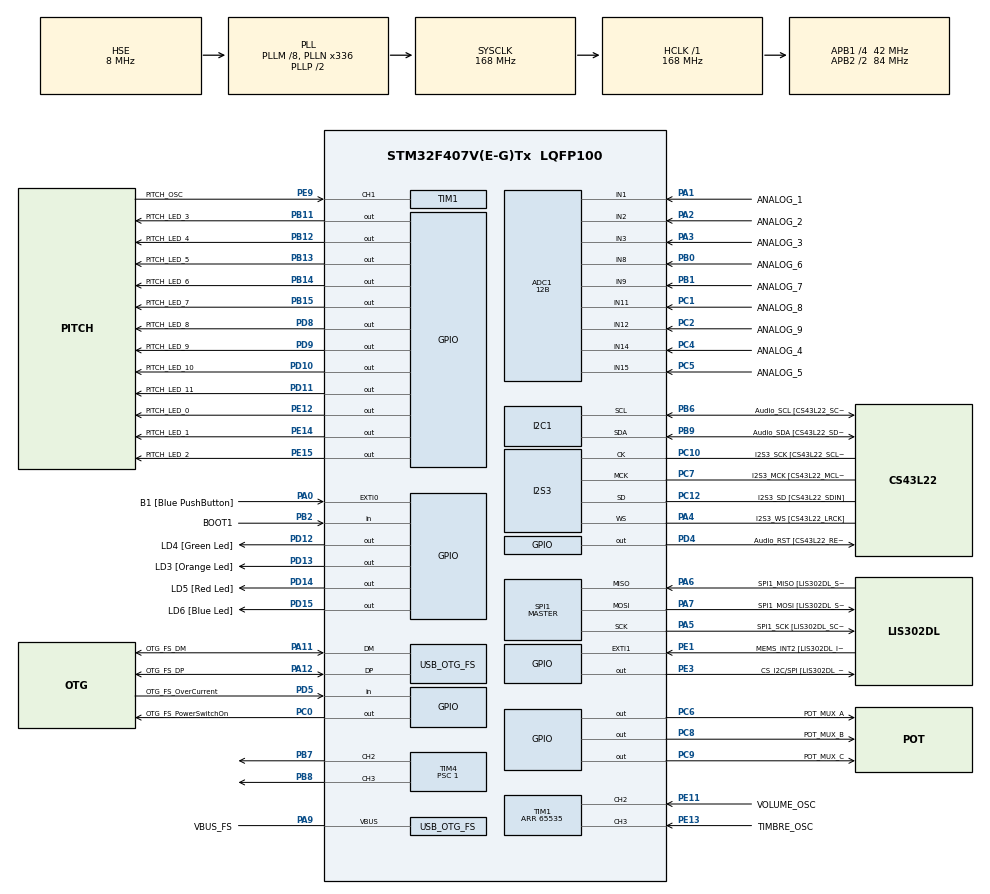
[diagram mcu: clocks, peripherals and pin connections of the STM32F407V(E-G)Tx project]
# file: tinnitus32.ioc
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ADC1.Channel-0\#ChannelRegularConversion=ADC_CHANNEL_1
ADC1.Channel-1\#ChannelRegularConversion=ADC_CHANNEL_2
ADC1.Channel-2\#ChannelRegularConversion=ADC_CHANNEL_3
ADC1.Channel-3\#ChannelRegularConversion=ADC_CHANNEL_14
ADC1.Channel-4\#ChannelRegularConversion=ADC_CHANNEL_15
ADC1.Channel-5\#ChannelRegularConversion=ADC_CHANNEL_8
ADC1.Channel-6\#ChannelRegularConversion=ADC_CHANNEL_9
ADC1.Channel-7\#ChannelRegularConversion=ADC_CHANNEL_11
ADC1.Channel-8\#ChannelRegularConversion=ADC_CHANNEL_12
ADC1.ClockPrescaler=ADC_CLOCK_SYNC_PCLK_DIV6
ADC1.ContinuousConvMode=DISABLE
ADC1.DMAContinuousRequests=ENABLE
ADC1.DataAlign=ADC_DATAALIGN_RIGHT
ADC1.DiscontinuousConvMode=DISABLE
ADC1.EOCSelection=ADC_EOC_SEQ_CONV
ADC1.EnableAnalogWatchDog=false
ADC1.ExternalTrigConv=ADC_SOFTWARE_START
ADC1.ExternalTrigConvEdge=ADC_EXTERNALTRIGCONVEDGE_NONE
ADC1.InjNumberOfConversion=0
ADC1.NbrOfConversion=9
ADC1.NbrOfConversionFlag=1
ADC1.Rank-0\#ChannelRegularConversion=1
ADC1.Rank-1\#ChannelRegularConversion=2
ADC1.Rank-2\#ChannelRegularConversion=3
ADC1.Rank-3\#ChannelRegularConversion=4
ADC1.Rank-4\#ChannelRegularConversion=5
ADC1.Rank-5\#ChannelRegularConversion=6
ADC1.Rank-6\#ChannelRegularConversion=7
ADC1.Rank-7\#ChannelRegularConversion=8
ADC1.Rank-8\#ChannelRegularConversion=9
ADC1.Resolution=ADC_RESOLUTION_12B
ADC1.SamplingTime-0\#ChannelRegularConversion=ADC_SAMPLETIME_112CYCLES
ADC1.SamplingTime-1\#ChannelRegularConversion=ADC_SAMPLETIME_112CYCLES
ADC1.SamplingTime-2\#ChannelRegularConversion=ADC_SAMPLETIME_112CYCLES
ADC1.SamplingTime-3\#ChannelRegularConversion=ADC_SAMPLETIME_112CYCLES
ADC1.SamplingTime-4\#ChannelRegularConversion=ADC_SAMPLETIME_112CYCLES
ADC1.SamplingTime-5\#ChannelRegularConversion=ADC_SAMPLETIME_112CYCLES
ADC1.SamplingTime-6\#ChannelRegularConversion=ADC_SAMPLETIME_112CYCLES
ADC1.SamplingTime-7\#ChannelRegularConversion=ADC_SAMPLETIME_112CYCLES
ADC1.SamplingTime-8\#ChannelRegularConversion=ADC_SAMPLETIME_112CYCLES
ADC1.ScanConvMode=ENABLE
ADC1.master=1
Dma.ADC1.0.Direction=DMA_PERIPH_TO_MEMORY
Dma.ADC1.0.FIFOMode=DMA_FIFOMODE_DISABLE
Dma.ADC1.0.Instance=DMA2_Stream0
Dma.ADC1.0.MemDataAlignment=DMA_MDATAALIGN_HALFWORD
Dma.ADC1.0.MemInc=DMA_MINC_ENABLE
Dma.ADC1.0.Mode=DMA_CIRCULAR
Dma.ADC1.0.PeriphDataAlignment=DMA_PDATAALIGN_HALFWORD
Dma.ADC1.0.PeriphInc=DMA_PINC_DISABLE
Dma.ADC1.0.Priority=DMA_PRIORITY_LOW
Dma.Request0=ADC1
I2S3.AudioFreq=I2S_AUDIOFREQ_48K
I2S3.AudioFreq-Half_Duplex_Master=I2S_AUDIOFREQ_96K
I2S3.DataFormat=I2S_DATAFORMAT_16B
I2S3.ErrorAudioFreq=-0.01 %
I2S3.ErrorAudioFreq-Half_Duplex_Master=0.8 %
I2S3.FullDuplexMode=I2S_FULLDUPLEXMODE_DISABLE
I2S3.Instance=SPI$Index
I2S3.RealAudioFreq=47.991 KHz
I2S3.RealAudioFreq-Half_Duplex_Master=96.774 KHz
I2S3.VirtualMode=I2S_MODE_MASTER
Mcu.Family=STM32F4
Mcu.Name=STM32F407V(E-G)Tx
Mcu.Package=LQFP100
NVIC.DMA2_Stream0_IRQn=true\:2\:0\:true\:false\:true\:false\:true
NVIC.OTG_FS_IRQn=true\:1\:0\:true\:false\:true\:true\:true
NVIC.PriorityGroup=NVIC_PRIORITYGROUP_3
NVIC.SPI3_IRQn=true\:0\:0\:false\:false\:true\:true\:true
PA0-WKUP.GPIO_Label=B1 [Blue PushButton]
PA0-WKUP.GPIO_ModeDefaultEXTI=GPIO_MODE_EVT_RISING
PA0-WKUP.GPIO_PuPd=GPIO_NOPULL
PA0-WKUP.Signal=GPXTI0
PA1.GPIO_Label=ANALOG_1
PA1.GPIO_PuPd=GPIO_NOPULL
PA1.Signal=ADCx_IN1
PA10.GPIO_Label=OTG_FS_ID
PA10.GPIO_Mode=GPIO_MODE_AF_PP
PA10.GPIO_PuPd=GPIO_NOPULL
PA10.GPIO_Speed=GPIO_SPEED_FREQ_LOW
PA10.Signal=USB_OTG_FS_ID
PA11.GPIO_Label=OTG_FS_DM
PA11.GPIO_Mode=GPIO_MODE_AF_PP
PA11.GPIO_PuPd=GPIO_NOPULL
PA11.GPIO_Speed=GPIO_SPEED_FREQ_LOW
PA11.Mode=Host_Only
PA11.Signal=USB_OTG_FS_DM
PA12.GPIO_Label=OTG_FS_DP
PA12.GPIO_Mode=GPIO_MODE_AF_PP
PA12.GPIO_PuPd=GPIO_NOPULL
PA12.GPIO_Speed=GPIO_SPEED_FREQ_LOW
PA12.Mode=Host_Only
PA12.Signal=USB_OTG_FS_DP
PA13.GPIO_Label=SWDIO
PA13.Mode=Serial_Wire
PA13.Signal=SYS_JTMS-SWDIO
PA14.GPIO_Label=SWCLK
PA14.Mode=Serial_Wire
PA14.Signal=SYS_JTCK-SWCLK
PA2.GPIO_Label=ANALOG_2
PA2.GPIO_PuPd=GPIO_NOPULL
PA2.Signal=ADCx_IN2
PA3.GPIO_Label=ANALOG_3
PA3.GPIO_PuPd=GPIO_NOPULL
PA3.Signal=ADCx_IN3
PA4.GPIO_Label=I2S3_WS [CS43L22_LRCK]
PA4.GPIO_Mode=GPIO_MODE_AF_PP
PA4.GPIO_PuPd=GPIO_NOPULL
PA4.GPIO_Speed=GPIO_SPEED_FREQ_LOW
PA4.Mode=Half_Duplex_Master
PA4.Signal=I2S3_WS
PA5.GPIO_Label=SPI1_SCK [LIS302DL_SCL/SPC]
PA5.GPIO_Mode=GPIO_MODE_AF_PP
PA5.GPIO_PuPd=GPIO_NOPULL
PA5.GPIO_Speed=GPIO_SPEED_FREQ_LOW
PA5.Mode=Full_Duplex_Master
PA5.Signal=SPI1_SCK
PA6.GPIO_Label=SPI1_MISO [LIS302DL_SDO]
PA6.GPIO_Mode=GPIO_MODE_AF_PP
PA6.GPIO_PuPd=GPIO_NOPULL
PA6.GPIO_Speed=GPIO_SPEED_FREQ_LOW
PA6.Mode=Full_Duplex_Master
PA6.Signal=SPI1_MISO
PA7.GPIO_Label=SPI1_MOSI [LIS302DL_SDA/SDI/SDO]
PA7.GPIO_Mode=GPIO_MODE_AF_PP
PA7.GPIO_PuPd=GPIO_NOPULL
PA7.GPIO_Speed=GPIO_SPEED_FREQ_LOW
PA7.Mode=Full_Duplex_Master
PA7.Signal=SPI1_MOSI
PA9.GPIO_Label=VBUS_FS
PA9.GPIO_Mode=GPIO_MODE_INPUT
PA9.GPIO_PuPd=GPIO_NOPULL
PA9.Mode=Activate_VBUS
PA9.Signal=USB_OTG_FS_VBUS
PB0.GPIO_Label=ANALOG_6
PB0.GPIO_PuPd=GPIO_NOPULL
PB0.Signal=ADCx_IN8
PB1.GPIO_Label=ANALOG_7
PB1.GPIO_PuPd=GPIO_NOPULL
PB1.Signal=ADCx_IN9
PB10.GPIO_Label=CLK_IN [MP45DT02_CLK]
PB10.GPIO_Mode=GPIO_MODE_AF_PP
PB10.GPIO_PuPd=GPIO_NOPULL
PB10.GPIO_Speed=GPIO_SPEED_FREQ_LOW
PB10.Signal=I2S2_CK
PB11.GPIO_Label=PITCH_LED_3
PB11.Signal=GPIO_Output
PB12.GPIO_Label=PITCH_LED_4
PB12.Signal=GPIO_Output
PB13.GPIO_Label=PITCH_LED_5
PB13.Signal=GPIO_Output
PB14.GPIO_Label=PITCH_LED_6
PB14.Signal=GPIO_Output
PB15.GPIO_Label=PITCH_LED_7
PB15.Signal=GPIO_Output
PB2.GPIO_Label=BOOT1
PB2.GPIO_Mode=GPIO_MODE_INPUT
PB2.GPIO_PuPd=GPIO_NOPULL
PB2.Signal=GPIO_Input
PB3.GPIO_Label=SWO
PB3.Signal=SYS_JTDO-SWO
PB6.GPIO_Label=Audio_SCL [CS43L22_SCL]
PB6.GPIO_Mode=GPIO_MODE_AF_OD
PB6.GPIO_PuPd=GPIO_NOPULL
PB6.GPIO_Speed=GPIO_SPEED_FREQ_LOW
PB6.Mode=I2C
PB6.Signal=I2C1_SCL
PB7.Signal=S_TIM4_CH2
PB8.Signal=S_TIM4_CH3
PB9.GPIO_Label=Audio_SDA [CS43L22_SDA]
PB9.GPIO_Mode=GPIO_MODE_AF_OD
PB9.GPIO_PuPd=GPIO_NOPULL
PB9.GPIO_Speed=GPIO_SPEED_FREQ_LOW
PB9.Mode=I2C
PB9.Signal=I2C1_SDA
PC0.GPIO_Label=OTG_FS_PowerSwitchOn
PC0.GPIO_PuPd=GPIO_NOPULL
PC0.GPIO_Speed=GPIO_SPEED_FREQ_LOW
PC0.PinState=GPIO_PIN_SET
PC0.Signal=GPIO_Output
PC1.GPIO_Label=ANALOG_8
PC1.GPIO_PuPd=GPIO_NOPULL
PC1.Signal=ADCx_IN11
PC10.GPIO_Label=I2S3_SCK [CS43L22_SCLK]
PC10.GPIO_Mode=GPIO_MODE_AF_PP
PC10.GPIO_PuPd=GPIO_NOPULL
PC10.GPIO_Speed=GPIO_SPEED_FREQ_LOW
PC10.Mode=Half_Duplex_Master
PC10.Signal=I2S3_CK
PC12.GPIO_Label=I2S3_SD [CS43L22_SDIN]
PC12.GPIO_Mode=GPIO_MODE_AF_PP
PC12.GPIO_PuPd=GPIO_NOPULL
PC12.GPIO_Speed=GPIO_SPEED_FREQ_LOW
PC12.Mode=Half_Duplex_Master
PC12.Signal=I2S3_SD
PC14-OSC32_IN.GPIO_Label=PC14-OSC32_IN
PC14-OSC32_IN.Mode=LSE-External-Oscillator
PC14-OSC32_IN.Signal=RCC_OSC32_IN
PC15-OSC32_OUT.GPIO_Label=PC15-OSC32_OUT
PC15-OSC32_OUT.Mode=LSE-External-Oscillator
PC15-OSC32_OUT.Signal=RCC_OSC32_OUT
PC2.GPIO_Label=ANALOG_9
PC2.GPIO_PuPd=GPIO_NOPULL
PC2.Signal=ADCx_IN12
PC3.GPIO_Label=PDM_OUT [MP45DT02_DOUT]
PC3.GPIO_Mode=GPIO_MODE_AF_PP
PC3.GPIO_PuPd=GPIO_NOPULL
PC3.GPIO_Speed=GPIO_SPEED_FREQ_LOW
PC3.Signal=I2S2_SD
PC4.GPIO_Label=ANALOG_4
PC4.GPIO_PuPd=GPIO_NOPULL
PC4.Signal=ADCx_IN14
PC5.GPIO_Label=ANALOG_5
PC5.GPIO_PuPd=GPIO_NOPULL
PC5.Signal=ADCx_IN15
PC6.GPIO_Label=POT_MUX_A
PC6.Signal=GPIO_Output
PC7.GPIO_Label=I2S3_MCK [CS43L22_MCLK]
PC7.GPIO_Mode=GPIO_MODE_AF_PP
PC7.GPIO_PuPd=GPIO_NOPULL
PC7.GPIO_Speed=GPIO_SPEED_FREQ_LOW
PC7.Mode=Master_Clock_Activated
PC7.Signal=I2S3_MCK
PC8.GPIO_Label=POT_MUX_B
PC8.Signal=GPIO_Output
PC9.GPIO_Label=POT_MUX_C
PC9.Signal=GPIO_Output
PD10.GPIO_Label=PITCH_LED_10
PD10.Signal=GPIO_Output
PD11.GPIO_Label=PITCH_LED_11
PD11.Signal=GPIO_Output
PD12.GPIO_Label=LD4 [Green Led]
PD12.GPIO_PuPd=GPIO_NOPULL
PD12.GPIO_Speed=GPIO_SPEED_FREQ_LOW
PD12.Signal=GPIO_Output
PD13.GPIO_Label=LD3 [Orange Led]
PD13.GPIO_PuPd=GPIO_NOPULL
PD13.GPIO_Speed=GPIO_SPEED_FREQ_LOW
PD13.Signal=GPIO_Output
PD14.GPIO_Label=LD5 [Red Led]
PD14.GPIO_PuPd=GPIO_NOPULL
PD14.GPIO_Speed=GPIO_SPEED_FREQ_LOW
PD14.Signal=GPIO_Output
PD15.GPIO_Label=LD6 [Blue Led]
PD15.GPIO_PuPd=GPIO_NOPULL
PD15.GPIO_Speed=GPIO_SPEED_FREQ_LOW
PD15.Signal=GPIO_Output
PD4.GPIO_Label=Audio_RST [CS43L22_RESET]
PD4.GPIO_PuPd=GPIO_NOPULL
PD4.GPIO_Speed=GPIO_SPEED_FREQ_LOW
PD4.Signal=GPIO_Output
PD5.GPIO_Label=OTG_FS_OverCurrent
PD5.GPIO_Mode=GPIO_MODE_INPUT
PD5.GPIO_PuPd=GPIO_NOPULL
PD5.Signal=GPIO_Input
PD8.GPIO_Label=PITCH_LED_8
PD8.Signal=GPIO_Output
PD9.GPIO_Label=PITCH_LED_9
PD9.Signal=GPIO_Output
PE1.GPIO_Label=MEMS_INT2 [LIS302DL_INT2]
PE1.GPIO_ModeDefaultEXTI=GPIO_MODE_EVT_RISING
PE1.GPIO_PuPd=GPIO_NOPULL
PE1.Signal=GPXTI1
PE11.GPIO_Label=VOLUME_OSC
PE11.Signal=S_TIM1_CH2
PE12.GPIO_Label=PITCH_LED_0
PE12.Signal=GPIO_Output
PE13.GPIO_Label=TIMBRE_OSC
PE13.Signal=S_TIM1_CH3
PE14.GPIO_Label=PITCH_LED_1
PE14.Signal=GPIO_Output
PE15.GPIO_Label=PITCH_LED_2
PE15.Signal=GPIO_Output
PE3.GPIO_Label=CS_I2C/SPI [LIS302DL_CS_I2C/SPI]
PE3.GPIO_PuPd=GPIO_NOPULL
PE3.GPIO_Speed=GPIO_SPEED_FREQ_LOW
PE3.Signal=GPIO_Output
PE9.GPIO_Label=PITCH_OSC
PE9.Signal=S_TIM1_CH1
PH0-OSC_IN.GPIO_Label=PH0-OSC_IN
PH0-OSC_IN.Mode=HSE-External-Oscillator
PH0-OSC_IN.Signal=RCC_OSC_IN
PH1-OSC_OUT.GPIO_Label=PH1-OSC_OUT
PH1-OSC_OUT.Mode=HSE-External-Oscillator
PH1-OSC_OUT.Signal=RCC_OSC_OUT
ProjectManager.HeapSize=0x200
ProjectManager.StackSize=0x400
ProjectManager.TargetToolchain=STM32CubeIDE
RCC.48MHZClocksFreq_Value=48000000
RCC.AHBFreq_Value=168000000
RCC.APB1CLKDivider=RCC_HCLK_DIV4
RCC.APB1Freq_Value=42000000
RCC.APB1TimFreq_Value=84000000
RCC.APB2CLKDivider=RCC_HCLK_DIV2
RCC.APB2Freq_Value=84000000
RCC.APB2TimFreq_Value=168000000
RCC.CortexFreq_Value=168000000
RCC.HCLKFreq_Value=168000000
RCC.HSE_VALUE=8000000
RCC.HSI_VALUE=16000000
RCC.PLLI2SN=258
RCC.PLLI2SR=3
RCC.PLLM=8
RCC.PLLN=336
RCC.PLLQ=7
RCC.SYSCLKFreq_VALUE=168000000
RCC.SYSCLKSource=RCC_SYSCLKSOURCE_PLLCLK
RCC.VCOOutputFreq_Value=336000000
SH.ADCx_IN1.0=ADC1_IN1,IN1
SH.ADCx_IN11.0=ADC1_IN11,IN11
SH.ADCx_IN12.0=ADC1_IN12,IN12
SH.ADCx_IN14.0=ADC1_IN14,IN14
SH.ADCx_IN15.0=ADC1_IN15,IN15
SH.ADCx_IN2.0=ADC1_IN2,IN2
SH.ADCx_IN3.0=ADC1_IN3,IN3
SH.ADCx_IN8.0=ADC1_IN8,IN8
SH.ADCx_IN9.0=ADC1_IN9,IN9
SH.S_TIM1_CH1.0=TIM1_CH1,Input_Capture1_from_TI1
SH.S_TIM1_CH2.0=TIM1_CH2,Input_Capture2_from_TI2
SH.S_TIM1_CH3.0=TIM1_CH3,Input_Capture3_from_TI3
SH.S_TIM4_CH2.0=TIM4_CH2,PWM Generation2 CH2
SH.S_TIM4_CH3.0=TIM4_CH3,PWM Generation3 CH3
SPI1.BaudRatePrescaler-Full_Duplex_Master=SPI_BAUDRATEPRESCALER_2
SPI1.CalculateBaudRate-Full_Duplex_Master=42.0 MBits/s
SPI1.Direction=SPI_DIRECTION_2LINES
SPI1.Mode=SPI_MODE_MASTER
SPI1.Mode-Full_Duplex_Master=SPI_MODE_MASTER
SPI1.VirtualType=VM_MASTER
TIM1.Channel-Input_Capture1_from_TI1=TIM_CHANNEL_1
TIM1.Channel-Input_Capture2_from_TI2=TIM_CHANNEL_2
TIM1.Channel-Input_Capture3_from_TI3=TIM_CHANNEL_3
TIM1.ICPrescaler-Input_Capture1_from_TI1=TIM_ICPSC_DIV8
TIM1.ICPrescaler-Input_Capture2_from_TI2=TIM_ICPSC_DIV8
TIM1.ICPrescaler-Input_Capture3_from_TI3=TIM_ICPSC_DIV8
TIM1.Period=65535
TIM4.Channel-PWM\ Generation2\ CH2=TIM_CHANNEL_2
TIM4.Channel-PWM\ Generation3\ CH3=TIM_CHANNEL_3
TIM4.Period=65535
TIM4.Prescaler=1
USB_HOST.BSP.number=1
USB_HOST.USBH_HandleTypeDef-MSC_FS=hUsbHostFS
USB_HOST.VirtualModeFS=Msc
USB_HOST0.BSP.STBoard=false
USB_HOST0.BSP.api=UnknownBspDriver
USB_HOST0.BSP.i2caddr=0
USB_HOST0.BSP.i2creg=0
USB_HOST0.BSP.instance=PC0
USB_HOST0.BSP.ip=GPIO
USB_HOST0.BSP.mode=Output
USB_HOST0.BSP.name=Drive_VBUS_FS
USB_HOST0.BSP.solution=PC0
USB_OTG_FS.VirtualMode=Host_Only
USB_OTG_FS.phy_itface=HCD_PHY_EMBEDDED
VP_FATFS_VS_USB.Mode=USB
VP_RNG_VS_RNG.Mode=RNG_Activate
VP_TIM1_VS_ClockSourceINT.Mode=Internal
VP_TIM4_VS_ClockSourceINT.Mode=Internal
VP_USB_HOST_VS_USB_HOST_MSC_FS.Mode=MSC_FS
board=STM32F4DISCOVERY

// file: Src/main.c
/**
  ******************************************************************************
  * File Name          : main.c
  * Description        : Main program body
  ******************************************************************************
  * This notice applies to any and all portions of this file
  * that are not between comment pairs USER CODE BEGIN and
  * USER CODE END. Other portions of this file, whether
  * inserted by the user or by software development tools
  * are owned by their respective copyright owners.
  *
  * Copyright (c) 2021 STMicroelectronics International N.V.
  * All rights reserved.
  *
  * Redistribution and use in source and binary forms, with or without
  * modification, are permitted, provided that the following conditions are met:
  *
  * 1. Redistribution of source code must retain the above copyright notice,
  *    this list of conditions and the following disclaimer.
  * 2. Redistributions in binary form must reproduce the above copyright notice,
  *    this list of conditions and the following disclaimer in the documentation
  *    and/or other materials provided with the distribution.
  * 3. Neither the name of STMicroelectronics nor the names of other
  *    contributors to this software may be used to endorse or promote products
  *    derived from this software without specific written permission.
  * 4. This software, including modifications and/or derivative works of this
  *    software, must execute solely and exclusively on microcontroller or
  *    microprocessor devices manufactured by or for STMicroelectronics.
  * 5. Redistribution and use of this software other than as permitted under
  *    this license is void and will automatically terminate your rights under
  *    this license.
  *
  * THIS SOFTWARE IS PROVIDED BY STMICROELECTRONICS AND CONTRIBUTORS "AS IS"
  * AND ANY EXPRESS, IMPLIED OR STATUTORY WARRANTIES, INCLUDING, BUT NOT
  * LIMITED TO, THE IMPLIED WARRANTIES OF MERCHANTABILITY, FITNESS FOR A
  * PARTICULAR PURPOSE AND NON-INFRINGEMENT OF THIRD PARTY INTELLECTUAL PROPERTY
  * RIGHTS ARE DISCLAIMED TO THE FULLEST EXTENT PERMITTED BY LAW. IN NO EVENT
  * SHALL STMICROELECTRONICS OR CONTRIBUTORS BE LIABLE FOR ANY DIRECT, INDIRECT,
  * INCIDENTAL, SPECIAL, EXEMPLARY, OR CONSEQUENTIAL DAMAGES (INCLUDING, BUT NOT
  * LIMITED TO, PROCUREMENT OF SUBSTITUTE GOODS OR SERVICES; LOSS OF USE, DATA,
  * OR PROFITS; OR BUSINESS INTERRUPTION) HOWEVER CAUSED AND ON ANY THEORY OF
  * LIABILITY, WHETHER IN CONTRACT, STRICT LIABILITY, OR TORT (INCLUDING
  * NEGLIGENCE OR OTHERWISE) ARISING IN ANY WAY OUT OF THE USE OF THIS SOFTWARE,
  * EVEN IF ADVISED OF THE POSSIBILITY OF SUCH DAMAGE.
  *
  ******************************************************************************
  */

#include "main.h"
#include "stm32f4xx_hal.h"
#include "fatfs.h"
#include "usb_host.h"

/* USER CODE BEGIN Includes */
#include "../Drivers/BSP/STM32F4-Discovery/stm32f4_discovery.h"
#include "audio_out.h"
#include "theremin.h"
#include "pots.h"
#include "config.h"
/* USER CODE END Includes */

ADC_HandleTypeDef hadc1;
DMA_HandleTypeDef hdma_adc1;

I2C_HandleTypeDef hi2c1;

I2S_HandleTypeDef hi2s3;

RNG_HandleTypeDef hrng;

SPI_HandleTypeDef hspi1;

TIM_HandleTypeDef htim1;
TIM_HandleTypeDef htim4;

/* USER CODE BEGIN PV */
/* Private variables ---------------------------------------------------------*/

/* USER CODE END PV */

void SystemClock_Config(void);
static void MX_GPIO_Init(void);
static void MX_DMA_Init(void);
static void MX_ADC1_Init(void);
static void MX_I2C1_Init(void);
static void MX_I2S3_Init(void);
static void MX_RNG_Init(void);
static void MX_SPI1_Init(void);
static void MX_TIM1_Init(void);
static void MX_TIM4_Init(void);
void MX_USB_HOST_Process(void);

void HAL_TIM_MspPostInit(TIM_HandleTypeDef *htim);

/* USER CODE BEGIN PFP */
/* Private function prototypes -----------------------------------------------*/

/* USER CODE END PFP */

/* USER CODE BEGIN 0 */
extern void initialise_monitor_handles(void);
int siFlag1ms = 0;
int siTaskCnt = 0;

/* USER CODE END 0 */

int main(void)
{

  /* MCU Configuration----------------------------------------------------------*/

  /* Reset of all peripherals, Initializes the Flash interface and the Systick. */
  HAL_Init();

  /* Configure the system clock */
  SystemClock_Config();

  /* Initialize all configured peripherals */
  MX_GPIO_Init();
  MX_DMA_Init();
  MX_ADC1_Init();
  MX_I2C1_Init();
  MX_I2S3_Init();
  MX_RNG_Init();
  MX_SPI1_Init();
  MX_TIM1_Init();
  MX_FATFS_Init();
  MX_USB_HOST_Init();
  MX_TIM4_Init();

  /* USER CODE BEGIN 2 */
#ifdef DEBUG
  initialise_monitor_handles();
#endif
  CONFIG_Init();
  POTS_Init();
  THEREMIN_Init();
  AUDIO_OUT_Init();

  HAL_TIM_Base_Start(&htim1);
  HAL_TIM_IC_Start(&htim1,TIM_CHANNEL_1);
  HAL_TIM_IC_Start(&htim1,TIM_CHANNEL_2);
  HAL_TIM_IC_Start(&htim1,TIM_CHANNEL_3);

  BSP_PB_Init(BUTTON_KEY, BUTTON_MODE_GPIO);

  // init PWM output for servo motor
  HAL_TIM_PWM_Start(&htim4,TIM_CHANNEL_2);
  __HAL_TIM_SET_COMPARE(&htim4,TIM_CHANNEL_2,0);

  // init PWM output for external LED
  HAL_TIM_PWM_Start(&htim4,TIM_CHANNEL_3);
  __HAL_TIM_SET_COMPARE(&htim4,TIM_CHANNEL_3,65535);
  /* USER CODE END 2 */

  /* Infinite loop */
  while (1)
  {
    MX_USB_HOST_Process();

  /* USER CODE BEGIN 3 */
	if (siFlag1ms)
	{
		siFlag1ms = 0;
	    THEREMIN_1msTask();
	    POTS_1msTask();
	    AUDIO_OUT_1msTask();

		siTaskCnt++;
		if (siTaskCnt >= 1000)
		{
			siTaskCnt = 0;
		    THEREMIN_1sTask();
		}
	}
  }
  /* USER CODE END 3 */

}

/** System Clock Configuration
*/
void SystemClock_Config(void)
{

  RCC_OscInitTypeDef RCC_OscInitStruct;
  RCC_ClkInitTypeDef RCC_ClkInitStruct;
  RCC_PeriphCLKInitTypeDef PeriphClkInitStruct;

    /**Configure the main internal regulator output voltage
    */
  __HAL_RCC_PWR_CLK_ENABLE();

  __HAL_PWR_VOLTAGESCALING_CONFIG(PWR_REGULATOR_VOLTAGE_SCALE1);

    /**Initializes the CPU, AHB and APB busses clocks
    */
  RCC_OscInitStruct.OscillatorType = RCC_OSCILLATORTYPE_HSE;
  RCC_OscInitStruct.HSEState = RCC_HSE_ON;
  RCC_OscInitStruct.PLL.PLLState = RCC_PLL_ON;
  RCC_OscInitStruct.PLL.PLLSource = RCC_PLLSOURCE_HSE;
  RCC_OscInitStruct.PLL.PLLM = 8;
  RCC_OscInitStruct.PLL.PLLN = 336;
  RCC_OscInitStruct.PLL.PLLP = RCC_PLLP_DIV2;
  RCC_OscInitStruct.PLL.PLLQ = 7;
  if (HAL_RCC_OscConfig(&RCC_OscInitStruct) != HAL_OK)
  {
    _Error_Handler(__FILE__, __LINE__);
  }

    /**Initializes the CPU, AHB and APB busses clocks
    */
  RCC_ClkInitStruct.ClockType = RCC_CLOCKTYPE_HCLK|RCC_CLOCKTYPE_SYSCLK
                              |RCC_CLOCKTYPE_PCLK1|RCC_CLOCKTYPE_PCLK2;
  RCC_ClkInitStruct.SYSCLKSource = RCC_SYSCLKSOURCE_PLLCLK;
  RCC_ClkInitStruct.AHBCLKDivider = RCC_SYSCLK_DIV1;
  RCC_ClkInitStruct.APB1CLKDivider = RCC_HCLK_DIV4;
  RCC_ClkInitStruct.APB2CLKDivider = RCC_HCLK_DIV2;

  if (HAL_RCC_ClockConfig(&RCC_ClkInitStruct, FLASH_LATENCY_5) != HAL_OK)
  {
    _Error_Handler(__FILE__, __LINE__);
  }

  PeriphClkInitStruct.PeriphClockSelection = RCC_PERIPHCLK_I2S;
  PeriphClkInitStruct.PLLI2S.PLLI2SN = 258;
  PeriphClkInitStruct.PLLI2S.PLLI2SR = 3;
  if (HAL_RCCEx_PeriphCLKConfig(&PeriphClkInitStruct) != HAL_OK)
  {
    _Error_Handler(__FILE__, __LINE__);
  }

    /**Configure the Systick interrupt time
    */
  HAL_SYSTICK_Config(HAL_RCC_GetHCLKFreq()/1000);

    /**Configure the Systick
    */
  HAL_SYSTICK_CLKSourceConfig(SYSTICK_CLKSOURCE_HCLK);

  /* SysTick_IRQn interrupt configuration */
  HAL_NVIC_SetPriority(SysTick_IRQn, 2, 0);
}

/* ADC1 init function */
static void MX_ADC1_Init(void)
{

  ADC_ChannelConfTypeDef sConfig;

    /**Configure the global features of the ADC (Clock, Resolution, Data Alignment and number of conversion)
    */
  hadc1.Instance = ADC1;
  hadc1.Init.ClockPrescaler = ADC_CLOCK_SYNC_PCLK_DIV6;
  hadc1.Init.Resolution = ADC_RESOLUTION_12B;
  hadc1.Init.ScanConvMode = ENABLE;
  hadc1.Init.ContinuousConvMode = DISABLE;
  hadc1.Init.DiscontinuousConvMode = DISABLE;
  hadc1.Init.ExternalTrigConvEdge = ADC_EXTERNALTRIGCONVEDGE_NONE;
  hadc1.Init.ExternalTrigConv = ADC_SOFTWARE_START;
  hadc1.Init.DataAlign = ADC_DATAALIGN_RIGHT;
  hadc1.Init.NbrOfConversion = 9;
  hadc1.Init.DMAContinuousRequests = ENABLE;
  hadc1.Init.EOCSelection = ADC_EOC_SEQ_CONV;
  if (HAL_ADC_Init(&hadc1) != HAL_OK)
  {
    _Error_Handler(__FILE__, __LINE__);
  }

    /**Configure for the selected ADC regular channel its corresponding rank in the sequencer and its sample time.
    */
  sConfig.Channel = ADC_CHANNEL_1;
  sConfig.Rank = 1;
  sConfig.SamplingTime = ADC_SAMPLETIME_112CYCLES;
  if (HAL_ADC_ConfigChannel(&hadc1, &sConfig) != HAL_OK)
  {
    _Error_Handler(__FILE__, __LINE__);
  }

    /**Configure for the selected ADC regular channel its corresponding rank in the sequencer and its sample time.
    */
  sConfig.Channel = ADC_CHANNEL_2;
  sConfig.Rank = 2;
  if (HAL_ADC_ConfigChannel(&hadc1, &sConfig) != HAL_OK)
  {
    _Error_Handler(__FILE__, __LINE__);
  }

    /**Configure for the selected ADC regular channel its corresponding rank in the sequencer and its sample time.
    */
  sConfig.Channel = ADC_CHANNEL_3;
  sConfig.Rank = 3;
  if (HAL_ADC_ConfigChannel(&hadc1, &sConfig) != HAL_OK)
  {
    _Error_Handler(__FILE__, __LINE__);
  }

    /**Configure for the selected ADC regular channel its corresponding rank in the sequencer and its sample time.
    */
  sConfig.Channel = ADC_CHANNEL_14;
  sConfig.Rank = 4;
  if (HAL_ADC_ConfigChannel(&hadc1, &sConfig) != HAL_OK)
  {
    _Error_Handler(__FILE__, __LINE__);
  }

    /**Configure for the selected ADC regular channel its corresponding rank in the sequencer and its sample time.
    */
  sConfig.Channel = ADC_CHANNEL_15;
  sConfig.Rank = 5;
  if (HAL_ADC_ConfigChannel(&hadc1, &sConfig) != HAL_OK)
  {
    _Error_Handler(__FILE__, __LINE__);
  }

    /**Configure for the selected ADC regular channel its corresponding rank in the sequencer and its sample time.
    */
  sConfig.Channel = ADC_CHANNEL_8;
  sConfig.Rank = 6;
  if (HAL_ADC_ConfigChannel(&hadc1, &sConfig) != HAL_OK)
  {
    _Error_Handler(__FILE__, __LINE__);
  }

    /**Configure for the selected ADC regular channel its corresponding rank in the sequencer and its sample time.
    */
  sConfig.Channel = ADC_CHANNEL_9;
  sConfig.Rank = 7;
  if (HAL_ADC_ConfigChannel(&hadc1, &sConfig) != HAL_OK)
  {
    _Error_Handler(__FILE__, __LINE__);
  }

    /**Configure for the selected ADC regular channel its corresponding rank in the sequencer and its sample time.
    */
  sConfig.Channel = ADC_CHANNEL_11;
  sConfig.Rank = 8;
  if (HAL_ADC_ConfigChannel(&hadc1, &sConfig) != HAL_OK)
  {
    _Error_Handler(__FILE__, __LINE__);
  }

    /**Configure for the selected ADC regular channel its corresponding rank in the sequencer and its sample time.
    */
  sConfig.Channel = ADC_CHANNEL_12;
  sConfig.Rank = 9;
  if (HAL_ADC_ConfigChannel(&hadc1, &sConfig) != HAL_OK)
  {
    _Error_Handler(__FILE__, __LINE__);
  }

}

/* I2C1 init function */
static void MX_I2C1_Init(void)
{

  hi2c1.Instance = I2C1;
  hi2c1.Init.ClockSpeed = 100000;
  hi2c1.Init.DutyCycle = I2C_DUTYCYCLE_2;
  hi2c1.Init.OwnAddress1 = 0;
  hi2c1.Init.AddressingMode = I2C_ADDRESSINGMODE_7BIT;
  hi2c1.Init.DualAddressMode = I2C_DUALADDRESS_DISABLE;
  hi2c1.Init.OwnAddress2 = 0;
  hi2c1.Init.GeneralCallMode = I2C_GENERALCALL_DISABLE;
  hi2c1.Init.NoStretchMode = I2C_NOSTRETCH_DISABLE;
  if (HAL_I2C_Init(&hi2c1) != HAL_OK)
  {
    _Error_Handler(__FILE__, __LINE__);
  }

}

/* I2S3 init function */
static void MX_I2S3_Init(void)
{

  hi2s3.Instance = SPI3;
  hi2s3.Init.Mode = I2S_MODE_MASTER_TX;
  hi2s3.Init.Standard = I2S_STANDARD_PHILIPS;
  hi2s3.Init.DataFormat = I2S_DATAFORMAT_16B;
  hi2s3.Init.MCLKOutput = I2S_MCLKOUTPUT_ENABLE;
  hi2s3.Init.AudioFreq = I2S_AUDIOFREQ_48K;
  hi2s3.Init.CPOL = I2S_CPOL_LOW;
  hi2s3.Init.ClockSource = I2S_CLOCK_PLL;
  hi2s3.Init.FullDuplexMode = I2S_FULLDUPLEXMODE_DISABLE;
  if (HAL_I2S_Init(&hi2s3) != HAL_OK)
  {
    _Error_Handler(__FILE__, __LINE__);
  }

}

/* RNG init function */
static void MX_RNG_Init(void)
{

  hrng.Instance = RNG;
  if (HAL_RNG_Init(&hrng) != HAL_OK)
  {
    _Error_Handler(__FILE__, __LINE__);
  }

}

/* SPI1 init function */
static void MX_SPI1_Init(void)
{

  /* SPI1 parameter configuration*/
  hspi1.Instance = SPI1;
  hspi1.Init.Mode = SPI_MODE_MASTER;
  hspi1.Init.Direction = SPI_DIRECTION_2LINES;
  hspi1.Init.DataSize = SPI_DATASIZE_8BIT;
  hspi1.Init.CLKPolarity = SPI_POLARITY_LOW;
  hspi1.Init.CLKPhase = SPI_PHASE_1EDGE;
  hspi1.Init.NSS = SPI_NSS_SOFT;
  hspi1.Init.BaudRatePrescaler = SPI_BAUDRATEPRESCALER_2;
  hspi1.Init.FirstBit = SPI_FIRSTBIT_MSB;
  hspi1.Init.TIMode = SPI_TIMODE_DISABLE;
  hspi1.Init.CRCCalculation = SPI_CRCCALCULATION_DISABLE;
  hspi1.Init.CRCPolynomial = 10;
  if (HAL_SPI_Init(&hspi1) != HAL_OK)
  {
    _Error_Handler(__FILE__, __LINE__);
  }

}

/* TIM1 init function */
static void MX_TIM1_Init(void)
{

  TIM_ClockConfigTypeDef sClockSourceConfig;
  TIM_MasterConfigTypeDef sMasterConfig;
  TIM_IC_InitTypeDef sConfigIC;

  htim1.Instance = TIM1;
  htim1.Init.Prescaler = 0;
  htim1.Init.CounterMode = TIM_COUNTERMODE_UP;
  htim1.Init.Period = 65535;
  htim1.Init.ClockDivision = TIM_CLOCKDIVISION_DIV1;
  htim1.Init.RepetitionCounter = 0;
  if (HAL_TIM_Base_Init(&htim1) != HAL_OK)
  {
    _Error_Handler(__FILE__, __LINE__);
  }

  sClockSourceConfig.ClockSource = TIM_CLOCKSOURCE_INTERNAL;
  if (HAL_TIM_ConfigClockSource(&htim1, &sClockSourceConfig) != HAL_OK)
  {
    _Error_Handler(__FILE__, __LINE__);
  }

  if (HAL_TIM_IC_Init(&htim1) != HAL_OK)
  {
    _Error_Handler(__FILE__, __LINE__);
  }

  sMasterConfig.MasterOutputTrigger = TIM_TRGO_RESET;
  sMasterConfig.MasterSlaveMode = TIM_MASTERSLAVEMODE_DISABLE;
  if (HAL_TIMEx_MasterConfigSynchronization(&htim1, &sMasterConfig) != HAL_OK)
  {
    _Error_Handler(__FILE__, __LINE__);
  }

  sConfigIC.ICPolarity = TIM_INPUTCHANNELPOLARITY_RISING;
  sConfigIC.ICSelection = TIM_ICSELECTION_DIRECTTI;
  sConfigIC.ICPrescaler = TIM_ICPSC_DIV8;
  sConfigIC.ICFilter = 0;
  if (HAL_TIM_IC_ConfigChannel(&htim1, &sConfigIC, TIM_CHANNEL_1) != HAL_OK)
  {
    _Error_Handler(__FILE__, __LINE__);
  }

  if (HAL_TIM_IC_ConfigChannel(&htim1, &sConfigIC, TIM_CHANNEL_2) != HAL_OK)
  {
    _Error_Handler(__FILE__, __LINE__);
  }

  if (HAL_TIM_IC_ConfigChannel(&htim1, &sConfigIC, TIM_CHANNEL_3) != HAL_OK)
  {
    _Error_Handler(__FILE__, __LINE__);
  }

}

/* TIM4 init function */
static void MX_TIM4_Init(void)
{

  TIM_ClockConfigTypeDef sClockSourceConfig;
  TIM_MasterConfigTypeDef sMasterConfig;
  TIM_OC_InitTypeDef sConfigOC;

  htim4.Instance = TIM4;
  htim4.Init.Prescaler = 1;
  htim4.Init.CounterMode = TIM_COUNTERMODE_UP;
  htim4.Init.Period = 65535;
  htim4.Init.ClockDivision = TIM_CLOCKDIVISION_DIV1;
  if (HAL_TIM_Base_Init(&htim4) != HAL_OK)
  {
    _Error_Handler(__FILE__, __LINE__);
  }

  sClockSourceConfig.ClockSource = TIM_CLOCKSOURCE_INTERNAL;
  if (HAL_TIM_ConfigClockSource(&htim4, &sClockSourceConfig) != HAL_OK)
  {
    _Error_Handler(__FILE__, __LINE__);
  }

  if (HAL_TIM_PWM_Init(&htim4) != HAL_OK)
  {
    _Error_Handler(__FILE__, __LINE__);
  }

  sMasterConfig.MasterOutputTrigger = TIM_TRGO_RESET;
  sMasterConfig.MasterSlaveMode = TIM_MASTERSLAVEMODE_DISABLE;
  if (HAL_TIMEx_MasterConfigSynchronization(&htim4, &sMasterConfig) != HAL_OK)
  {
    _Error_Handler(__FILE__, __LINE__);
  }

  sConfigOC.OCMode = TIM_OCMODE_PWM1;
  sConfigOC.Pulse = 0;
  sConfigOC.OCPolarity = TIM_OCPOLARITY_HIGH;
  sConfigOC.OCFastMode = TIM_OCFAST_DISABLE;
  if (HAL_TIM_PWM_ConfigChannel(&htim4, &sConfigOC, TIM_CHANNEL_2) != HAL_OK)
  {
    _Error_Handler(__FILE__, __LINE__);
  }

  if (HAL_TIM_PWM_ConfigChannel(&htim4, &sConfigOC, TIM_CHANNEL_3) != HAL_OK)
  {
    _Error_Handler(__FILE__, __LINE__);
  }

  HAL_TIM_MspPostInit(&htim4);

}

static void MX_DMA_Init(void)
{
  /* DMA controller clock enable */
  __HAL_RCC_DMA2_CLK_ENABLE();

  /* DMA interrupt init */
  /* DMA2_Stream0_IRQn interrupt configuration */
  HAL_NVIC_SetPriority(DMA2_Stream0_IRQn, 2, 0);
  HAL_NVIC_EnableIRQ(DMA2_Stream0_IRQn);

}

/** Configure pins as
        * Analog
        * Input
        * Output
        * EVENT_OUT
        * EXTI
     PC3   ------> I2S2_SD
     PB10   ------> I2S2_CK
*/
static void MX_GPIO_Init(void)
{

  GPIO_InitTypeDef GPIO_InitStruct;

  /* GPIO Ports Clock Enable */
  __HAL_RCC_GPIOE_CLK_ENABLE();
  __HAL_RCC_GPIOC_CLK_ENABLE();
  __HAL_RCC_GPIOH_CLK_ENABLE();
  __HAL_RCC_GPIOA_CLK_ENABLE();
  __HAL_RCC_GPIOB_CLK_ENABLE();
  __HAL_RCC_GPIOD_CLK_ENABLE();

  /*Configure GPIO pin Output Level */
  HAL_GPIO_WritePin(GPIOE, CS_I2C_SPI_Pin|PITCH_LED_0_Pin|PITCH_LED_1_Pin|PITCH_LED_2_Pin, GPIO_PIN_RESET);

  /*Configure GPIO pin Output Level */
  HAL_GPIO_WritePin(OTG_FS_PowerSwitchOn_GPIO_Port, OTG_FS_PowerSwitchOn_Pin, GPIO_PIN_SET);

  /*Configure GPIO pin Output Level */
  HAL_GPIO_WritePin(GPIOB, PITCH_LED_3_Pin|PITCH_LED_4_Pin|PITCH_LED_5_Pin|PITCH_LED_6_Pin
                          |PITCH_LED_7_Pin, GPIO_PIN_RESET);

  /*Configure GPIO pin Output Level */
  HAL_GPIO_WritePin(GPIOD, PITCH_LED_8_Pin|PITCH_LED_9_Pin|PITCH_LED_10_Pin|PITCH_LED_11_Pin
                          |LD4_Pin|LD3_Pin|LD5_Pin|LD6_Pin
                          |Audio_RST_Pin, GPIO_PIN_RESET);

  /*Configure GPIO pin Output Level */
  HAL_GPIO_WritePin(GPIOC, POT_MUX_A_Pin|POT_MUX_B_Pin|POT_MUX_C_Pin, GPIO_PIN_RESET);

  /*Configure GPIO pins : CS_I2C_SPI_Pin PITCH_LED_0_Pin PITCH_LED_1_Pin PITCH_LED_2_Pin */
  GPIO_InitStruct.Pin = CS_I2C_SPI_Pin|PITCH_LED_0_Pin|PITCH_LED_1_Pin|PITCH_LED_2_Pin;
  GPIO_InitStruct.Mode = GPIO_MODE_OUTPUT_PP;
  GPIO_InitStruct.Pull = GPIO_NOPULL;
  GPIO_InitStruct.Speed = GPIO_SPEED_FREQ_LOW;
  HAL_GPIO_Init(GPIOE, &GPIO_InitStruct);

  /*Configure GPIO pins : OTG_FS_PowerSwitchOn_Pin POT_MUX_A_Pin POT_MUX_B_Pin POT_MUX_C_Pin */
  GPIO_InitStruct.Pin = OTG_FS_PowerSwitchOn_Pin|POT_MUX_A_Pin|POT_MUX_B_Pin|POT_MUX_C_Pin;
  GPIO_InitStruct.Mode = GPIO_MODE_OUTPUT_PP;
  GPIO_InitStruct.Pull = GPIO_NOPULL;
  GPIO_InitStruct.Speed = GPIO_SPEED_FREQ_LOW;
  HAL_GPIO_Init(GPIOC, &GPIO_InitStruct);

  /*Configure GPIO pin : PDM_OUT_Pin */
  GPIO_InitStruct.Pin = PDM_OUT_Pin;
  GPIO_InitStruct.Mode = GPIO_MODE_AF_PP;
  GPIO_InitStruct.Pull = GPIO_NOPULL;
  GPIO_InitStruct.Speed = GPIO_SPEED_FREQ_LOW;
  GPIO_InitStruct.Alternate = GPIO_AF5_SPI2;
  HAL_GPIO_Init(PDM_OUT_GPIO_Port, &GPIO_InitStruct);

  /*Configure GPIO pin : B1_Pin */
  GPIO_InitStruct.Pin = B1_Pin;
  GPIO_InitStruct.Mode = GPIO_MODE_EVT_RISING;
  GPIO_InitStruct.Pull = GPIO_NOPULL;
  HAL_GPIO_Init(B1_GPIO_Port, &GPIO_InitStruct);

  /*Configure GPIO pin : BOOT1_Pin */
  GPIO_InitStruct.Pin = BOOT1_Pin;
  GPIO_InitStruct.Mode = GPIO_MODE_INPUT;
  GPIO_InitStruct.Pull = GPIO_NOPULL;
  HAL_GPIO_Init(BOOT1_GPIO_Port, &GPIO_InitStruct);

  /*Configure GPIO pin : CLK_IN_Pin */
  GPIO_InitStruct.Pin = CLK_IN_Pin;
  GPIO_InitStruct.Mode = GPIO_MODE_AF_PP;
  GPIO_InitStruct.Pull = GPIO_NOPULL;
  GPIO_InitStruct.Speed = GPIO_SPEED_FREQ_LOW;
  GPIO_InitStruct.Alternate = GPIO_AF5_SPI2;
  HAL_GPIO_Init(CLK_IN_GPIO_Port, &GPIO_InitStruct);

  /*Configure GPIO pins : PITCH_LED_3_Pin PITCH_LED_4_Pin PITCH_LED_5_Pin PITCH_LED_6_Pin
                           PITCH_LED_7_Pin */
  GPIO_InitStruct.Pin = PITCH_LED_3_Pin|PITCH_LED_4_Pin|PITCH_LED_5_Pin|PITCH_LED_6_Pin
                          |PITCH_LED_7_Pin;
  GPIO_InitStruct.Mode = GPIO_MODE_OUTPUT_PP;
  GPIO_InitStruct.Pull = GPIO_NOPULL;
  GPIO_InitStruct.Speed = GPIO_SPEED_FREQ_LOW;
  HAL_GPIO_Init(GPIOB, &GPIO_InitStruct);

  /*Configure GPIO pins : PITCH_LED_8_Pin PITCH_LED_9_Pin PITCH_LED_10_Pin PITCH_LED_11_Pin
                           LD4_Pin LD3_Pin LD5_Pin LD6_Pin
                           Audio_RST_Pin */
  GPIO_InitStruct.Pin = PITCH_LED_8_Pin|PITCH_LED_9_Pin|PITCH_LED_10_Pin|PITCH_LED_11_Pin
                          |LD4_Pin|LD3_Pin|LD5_Pin|LD6_Pin
                          |Audio_RST_Pin;
  GPIO_InitStruct.Mode = GPIO_MODE_OUTPUT_PP;
  GPIO_InitStruct.Pull = GPIO_NOPULL;
  GPIO_InitStruct.Speed = GPIO_SPEED_FREQ_LOW;
  HAL_GPIO_Init(GPIOD, &GPIO_InitStruct);

  /*Configure GPIO pin : OTG_FS_OverCurrent_Pin */
  GPIO_InitStruct.Pin = OTG_FS_OverCurrent_Pin;
  GPIO_InitStruct.Mode = GPIO_MODE_INPUT;
  GPIO_InitStruct.Pull = GPIO_NOPULL;
  HAL_GPIO_Init(OTG_FS_OverCurrent_GPIO_Port, &GPIO_InitStruct);

  /*Configure GPIO pin : MEMS_INT2_Pin */
  GPIO_InitStruct.Pin = MEMS_INT2_Pin;
  GPIO_InitStruct.Mode = GPIO_MODE_EVT_RISING;
  GPIO_InitStruct.Pull = GPIO_NOPULL;
  HAL_GPIO_Init(MEMS_INT2_GPIO_Port, &GPIO_InitStruct);

}

void _Error_Handler(char * file, int line)
{
  while(1)
  {
  }
}

/************************ (C) COPYRIGHT STMicroelectronics *****END OF FILE****/
